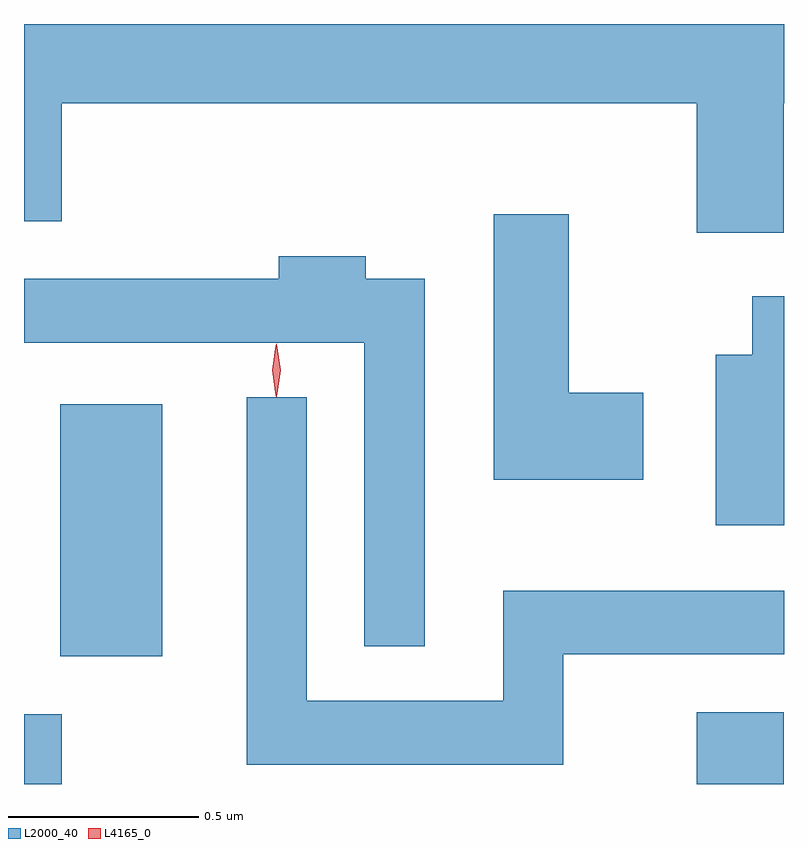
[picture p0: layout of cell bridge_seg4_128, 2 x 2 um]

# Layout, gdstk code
import gdstk
lib = gdstk.Library(unit=1e-6, precision=1e-09)
def R(c, l, rs):  # rectangles x0, y0, x1, y1
    for r in rs: c.add(gdstk.rectangle(r[:2], r[2:], *l))
def P(c, l, *ps):  # polygons
    for p in ps: c.add(gdstk.Polygon(p, *l))
L2000_40 = (2000, 40)
L4165_0 = (4165, 0)

bridge_seg4_128 = lib.new_cell('bridge_seg4_128')
R(bridge_seg4_128, L2000_40, [(915.95,1315.145,916.049,1315.329), (917.721,1315.145,917.949,1315.334), (916.046,1315.481,916.314,1316.144)])
P(bridge_seg4_128, L2000_40, [(917.949,1316.936),(917.95,1316.936),(917.95,1317.145),(915.95,1317.145),(915.95,1316.626),(916.049,1316.626),(916.049,1316.936),(917.721,1316.936),(917.721,1316.596),(917.949,1316.596)],
  [(917.579,1316.174),(917.384,1316.174),(917.384,1316.644),(917.186,1316.644),(917.186,1315.946),(917.579,1315.946)],
  [(917.004,1316.474),(916.849,1316.474),(916.849,1316.534),(916.621,1316.534),(916.621,1316.474),(915.95,1316.474),(915.95,1316.306),(916.846,1316.306),(916.846,1315.508),(917.004,1315.508)],
  [(917.95,1316.429),(917.866,1316.429),(917.866,1316.274),(917.771,1316.274),(917.771,1315.826),(917.95,1315.826)],
  [(917.369,1315.486),(917.95,1315.486),(917.95,1315.654),(917.211,1315.654),(917.211,1315.364),(916.694,1315.364),(916.694,1316.163),(916.536,1316.163),(916.536,1315.196),(917.369,1315.196)])
P(bridge_seg4_128, L4165_0, [(916.614,1316.164),(916.605,1316.234),(916.614,1316.302),(916.615,1316.303),(916.615,1316.302),(916.625,1316.234),(916.615,1316.164),(916.615,1316.164)],
  [(916.612,1316.167),(916.603,1316.234),(916.612,1316.3),(916.613,1316.3),(916.613,1316.3),(916.623,1316.234),(916.613,1316.167),(916.613,1316.167)])

lib.write_gds('bridge_seg4_128.gds')
